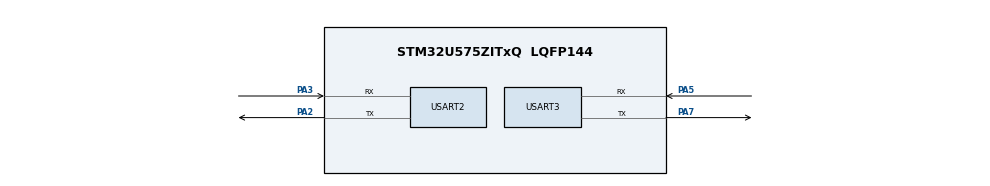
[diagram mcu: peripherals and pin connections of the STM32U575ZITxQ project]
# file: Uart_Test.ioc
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CORTEX_M33_NS.userName=CORTEX_M33
Mcu.Family=STM32U5
Mcu.Name=STM32U575ZITxQ
Mcu.Package=LQFP144
NUCLEO-U575ZI-Q.BUTTON=1
NUCLEO-U575ZI-Q.LD1=true
NUCLEO-U575ZI-Q.LD2=true
NUCLEO-U575ZI-Q.LD3=true
NUCLEO-U575ZI-Q.VCP=true
NVIC.EXTI13_IRQn=true\:0\:0\:false\:false\:true\:false\:true\:true
NVIC.PriorityGroup=NVIC_PRIORITYGROUP_3
NVIC.TIM17_IRQn=true\:7\:0\:false\:false\:true\:false\:true\:true
NVIC.TimeBase=TIM17_IRQn
NVIC.TimeBaseIP=TIM17
NVIC.USART2_IRQn=true\:0\:0\:false\:false\:true\:true\:true\:true
NVIC.USART3_IRQn=true\:0\:0\:false\:false\:true\:true\:true\:true
PA10.Signal=USART1_RX
PA13\ (JTMS/SWDIO).Signal=DEBUG_JTMS-SWDIO
PA14\ (JTCK/SWCLK).Signal=DEBUG_JTCK-SWCLK
PA2.Mode=Asynchronous
PA2.Signal=USART2_TX
PA3.Mode=Asynchronous
PA3.Signal=USART2_RX
PA5.Mode=Asynchronous
PA5.Signal=USART3_RX
PA7.Mode=Asynchronous
PA7.Signal=USART3_TX
PA9.Signal=USART1_TX
PB3\ (JTDO/TRACESWO).Signal=DEBUG_JTDO-SWO
PC14-OSC32_IN\ (PC14).Signal=RCC_OSC32_IN
PC15-OSC32_OUT\ (PC15).Signal=RCC_OSC32_OUT
PWR.PowerMode=PWR_SMPS_SUPPLY
ProjectManager.HeapSize=0x200
ProjectManager.StackSize=0x400
ProjectManager.TargetToolchain=STM32CubeIDE
RCC.ADCFreq_Value=16000000
RCC.DACCLockSelectionVirtual=RCC_DAC1CLKSOURCE_LSI
RCC.EPOD_VALUE=4000000
RCC.HSE_VALUE=16000000
RCC.HSI48_VALUE=48000000
RCC.HSI_VALUE=16000000
RCC.LSE_VALUE=32768
RCC.LSIDIV_VALUE=32000
RCC.MSI_VALUE=4000000
RCC.USBFreq_Value=48000000
RCC.VCOOutputFreq_Value=516000000
USART2.VirtualMode-Asynchronous=VM_ASYNC
USART3.VirtualMode-Asynchronous=VM_ASYNC
VP_ICACHE_VS_ENABLE_ICACHE_MEMORY.Mode=Memoryregions
VP_ICACHE_VS_ICACHE.Mode=DirectMappedCache
VP_LPBAMQUEUE_VS_QUEUE.Mode=QUEUEMODE
VP_LPBAM_VS_SIG1.Mode=SmartRun
VP_LPBAM_VS_SIG4.Mode=LPDMA1
VP_MEMORYMAP_VS_MEMORYMAP.Mode=CurAppReg
VP_NUCLEO-U575ZI-Q_VS_BSP_COMMON.Mode=COMMON
VP_PWR_VS_DBSignals.Mode=DisableDeadBatterySignals
VP_PWR_VS_LPOM.Mode=PowerOptimisation
VP_PWR_VS_SECSignals.Mode=Security/Privilege
VP_SYS_VS_tim17.Mode=TIM17
board=NUCLEO-U575ZI-Q

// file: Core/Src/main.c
/* USER CODE BEGIN Header */
/**
  ******************************************************************************
  * @file           : main.c
  * @brief          : Main program body
  ******************************************************************************
  * @attention
  *
  * Copyright (c) 2026 STMicroelectronics.
  * All rights reserved.
  *
  * This software is licensed under terms that can be found in the LICENSE file
  * in the root directory of this software component.
  * If no LICENSE file comes with this software, it is provided AS-IS.
  *
  ******************************************************************************
  */
/* USER CODE END Header */
#include "main.h"

/* USER CODE BEGIN Includes */
#include <stdint.h>
/* USER CODE END Includes */

COM_InitTypeDef BspCOMInit;

UART_HandleTypeDef huart2;
UART_HandleTypeDef huart3;

/* USER CODE BEGIN PV */
//PV = private variables
uint8_t rx_byte2;
uint8_t rx_byte3;
/* USER CODE END PV */

void SystemClock_Config(void);
static void SystemPower_Config(void);
static void MX_GPIO_Init(void);
static void MX_ICACHE_Init(void);
static void MX_USART2_UART_Init(void);
static void MX_USART3_UART_Init(void);

int main(void)
{

  /* MCU Configuration--------------------------------------------------------*/

  /* Reset of all peripherals, Initializes the Flash interface and the Systick. */
  HAL_Init();

  /* Configure the System Power */
  SystemPower_Config();

  /* Configure the system clock */
  SystemClock_Config();

  /* Initialize all configured peripherals */
  MX_GPIO_Init();
  MX_ICACHE_Init();
  MX_USART2_UART_Init();
  MX_USART3_UART_Init();

  /* Initialize leds */
  BSP_LED_Init(LED_GREEN);
  BSP_LED_Init(LED_BLUE);
  BSP_LED_Init(LED_RED);

  /* Initialize USER push-button, will be used to trigger an interrupt each time it's pressed.*/
  BSP_PB_Init(BUTTON_USER, BUTTON_MODE_EXTI);

  /* Initialize COM1 port (115200, 8 bits (7-bit data + 1 stop bit), no parity */
  BspCOMInit.BaudRate   = 115200;
  BspCOMInit.WordLength = COM_WORDLENGTH_8B;
  BspCOMInit.StopBits   = COM_STOPBITS_1;
  BspCOMInit.Parity     = COM_PARITY_NONE;
  BspCOMInit.HwFlowCtl  = COM_HWCONTROL_NONE;
  if (BSP_COM_Init(COM1, &BspCOMInit) != BSP_ERROR_NONE)
  {
    Error_Handler();
  }

  /* Infinite loop */
  /* USER CODE BEGIN WHILE */

  //huart2: use configured uart peripheral
  //rx_byte store the value of received byte at address rx_byte
  //1: size of received should be 1
  HAL_UART_Receive_IT(&huart2, &rx_byte2, 1);
  HAL_UART_Receive_IT(&huart3, &rx_byte3, 1);
  //without IT it blocks so we would have to poll, IT specifies an interrupt service routine
  //HAL_UART_Receive(&huart2, &rx_byte, 1, 100); would be without interrupt service routine

  while (1)
  {
	 ///Write Here
    /* USER CODE END WHILE */

    /* USER CODE BEGIN 3 */
	    uint8_t key;

	    if (HAL_UART_Receive(&hcom_uart[COM1], &key, 1, 10) == HAL_OK)
	    {
	        if (key == 'r' || key == 'g' || key == 'b')
	        {
	            HAL_UART_Transmit(&huart2, &key, 1, 100);
	            HAL_UART_Transmit(&huart3, &key, 1, 100);
	        }
	    }
  }
  /* USER CODE END 3 */
}

void SystemClock_Config(void)
{
  RCC_OscInitTypeDef RCC_OscInitStruct = {0};
  RCC_ClkInitTypeDef RCC_ClkInitStruct = {0};

  /** Configure the main internal regulator output voltage
  */
  if (HAL_PWREx_ControlVoltageScaling(PWR_REGULATOR_VOLTAGE_SCALE4) != HAL_OK)
  {
    Error_Handler();
  }

  /** Initializes the CPU, AHB and APB buses clocks
  */
  RCC_OscInitStruct.OscillatorType = RCC_OSCILLATORTYPE_MSI;
  RCC_OscInitStruct.MSIState = RCC_MSI_ON;
  RCC_OscInitStruct.MSICalibrationValue = RCC_MSICALIBRATION_DEFAULT;
  RCC_OscInitStruct.MSIClockRange = RCC_MSIRANGE_4;
  RCC_OscInitStruct.PLL.PLLState = RCC_PLL_NONE;
  if (HAL_RCC_OscConfig(&RCC_OscInitStruct) != HAL_OK)
  {
    Error_Handler();
  }

  /** Initializes the CPU, AHB and APB buses clocks
  */
  RCC_ClkInitStruct.ClockType = RCC_CLOCKTYPE_HCLK|RCC_CLOCKTYPE_SYSCLK
                              |RCC_CLOCKTYPE_PCLK1|RCC_CLOCKTYPE_PCLK2
                              |RCC_CLOCKTYPE_PCLK3;
  RCC_ClkInitStruct.SYSCLKSource = RCC_SYSCLKSOURCE_MSI;
  RCC_ClkInitStruct.AHBCLKDivider = RCC_SYSCLK_DIV1;
  RCC_ClkInitStruct.APB1CLKDivider = RCC_HCLK_DIV1;
  RCC_ClkInitStruct.APB2CLKDivider = RCC_HCLK_DIV1;
  RCC_ClkInitStruct.APB3CLKDivider = RCC_HCLK_DIV1;

  if (HAL_RCC_ClockConfig(&RCC_ClkInitStruct, FLASH_LATENCY_0) != HAL_OK)
  {
    Error_Handler();
  }
}

/**
  * @brief Power Configuration
  * @retval None
  */
static void SystemPower_Config(void)
{

  /*
   * Disable the internal Pull-Up in Dead Battery pins of UCPD peripheral
   */
  HAL_PWREx_DisableUCPDDeadBattery();

  /*
   * Switch to SMPS regulator instead of LDO
   */
  if (HAL_PWREx_ConfigSupply(PWR_SMPS_SUPPLY) != HAL_OK)
  {
    Error_Handler();
  }
}

static void MX_ICACHE_Init(void)
{

  /** Enable instruction cache in 1-way (direct mapped cache)
  */
  if (HAL_ICACHE_ConfigAssociativityMode(ICACHE_1WAY) != HAL_OK)
  {
    Error_Handler();
  }
  if (HAL_ICACHE_Enable() != HAL_OK)
  {
    Error_Handler();
  }

}

static void MX_USART2_UART_Init(void)
{

  huart2.Instance = USART2;
  huart2.Init.BaudRate = 115200;
  huart2.Init.WordLength = UART_WORDLENGTH_8B;
  huart2.Init.StopBits = UART_STOPBITS_1;
  huart2.Init.Parity = UART_PARITY_NONE;
  huart2.Init.Mode = UART_MODE_TX_RX;
  huart2.Init.HwFlowCtl = UART_HWCONTROL_NONE;
  huart2.Init.OverSampling = UART_OVERSAMPLING_16;
  huart2.Init.OneBitSampling = UART_ONE_BIT_SAMPLE_DISABLE;
  huart2.Init.ClockPrescaler = UART_PRESCALER_DIV1;
  huart2.AdvancedInit.AdvFeatureInit = UART_ADVFEATURE_NO_INIT;
  if (HAL_UART_Init(&huart2) != HAL_OK)
  {
    Error_Handler();
  }
  if (HAL_UARTEx_SetTxFifoThreshold(&huart2, UART_TXFIFO_THRESHOLD_1_8) != HAL_OK)
  {
    Error_Handler();
  }
  if (HAL_UARTEx_SetRxFifoThreshold(&huart2, UART_RXFIFO_THRESHOLD_1_8) != HAL_OK)
  {
    Error_Handler();
  }
  if (HAL_UARTEx_DisableFifoMode(&huart2) != HAL_OK)
  {
    Error_Handler();
  }

}

static void MX_USART3_UART_Init(void)
{

  huart3.Instance = USART3;
  huart3.Init.BaudRate = 115200;
  huart3.Init.WordLength = UART_WORDLENGTH_8B;
  huart3.Init.StopBits = UART_STOPBITS_1;
  huart3.Init.Parity = UART_PARITY_NONE;
  huart3.Init.Mode = UART_MODE_TX_RX;
  huart3.Init.HwFlowCtl = UART_HWCONTROL_NONE;
  huart3.Init.OverSampling = UART_OVERSAMPLING_16;
  huart3.Init.OneBitSampling = UART_ONE_BIT_SAMPLE_DISABLE;
  huart3.Init.ClockPrescaler = UART_PRESCALER_DIV1;
  huart3.AdvancedInit.AdvFeatureInit = UART_ADVFEATURE_NO_INIT;
  if (HAL_UART_Init(&huart3) != HAL_OK)
  {
    Error_Handler();
  }
  if (HAL_UARTEx_SetTxFifoThreshold(&huart3, UART_TXFIFO_THRESHOLD_1_8) != HAL_OK)
  {
    Error_Handler();
  }
  if (HAL_UARTEx_SetRxFifoThreshold(&huart3, UART_RXFIFO_THRESHOLD_1_8) != HAL_OK)
  {
    Error_Handler();
  }
  if (HAL_UARTEx_DisableFifoMode(&huart3) != HAL_OK)
  {
    Error_Handler();
  }

}

static void MX_GPIO_Init(void)
{

  /* GPIO Ports Clock Enable */
  __HAL_RCC_GPIOC_CLK_ENABLE();
  __HAL_RCC_GPIOA_CLK_ENABLE();
  __HAL_RCC_GPIOB_CLK_ENABLE();

}

/* USER CODE BEGIN 4 */
void SetLEDFromCommand(uint8_t command)
{
    // Ignore anything other than a valid colour command.
    if (command != 'r' && command != 'g' && command != 'b')
    {
        return;
    }

    // Only the selected LED stays on.
    BSP_LED_Off(LED_RED);
    BSP_LED_Off(LED_GREEN);
    BSP_LED_Off(LED_BLUE);

    if (command == 'r')
    {
        BSP_LED_On(LED_RED);
    }
    else if (command == 'g')
    {
        BSP_LED_On(LED_GREEN);
    }
    else
    {
        BSP_LED_On(LED_BLUE);
    }
}

void HAL_UART_RxCpltCallback(UART_HandleTypeDef *huart)
{
    if (huart->Instance == USART2)
    {
        SetLEDFromCommand(rx_byte2);
        HAL_UART_Receive_IT(&huart2, &rx_byte2, 1);
    }
    else if (huart->Instance == USART3)
    {
        SetLEDFromCommand(rx_byte3);
        HAL_UART_Receive_IT(&huart3, &rx_byte3, 1);
    }
}
/* USER CODE END 4 */

void HAL_TIM_PeriodElapsedCallback(TIM_HandleTypeDef *htim)
{
  if (htim->Instance == TIM17)
  {
    HAL_IncTick();
  }
}

void Error_Handler(void)
{
  __disable_irq();
  while (1)
  {
  }
}
